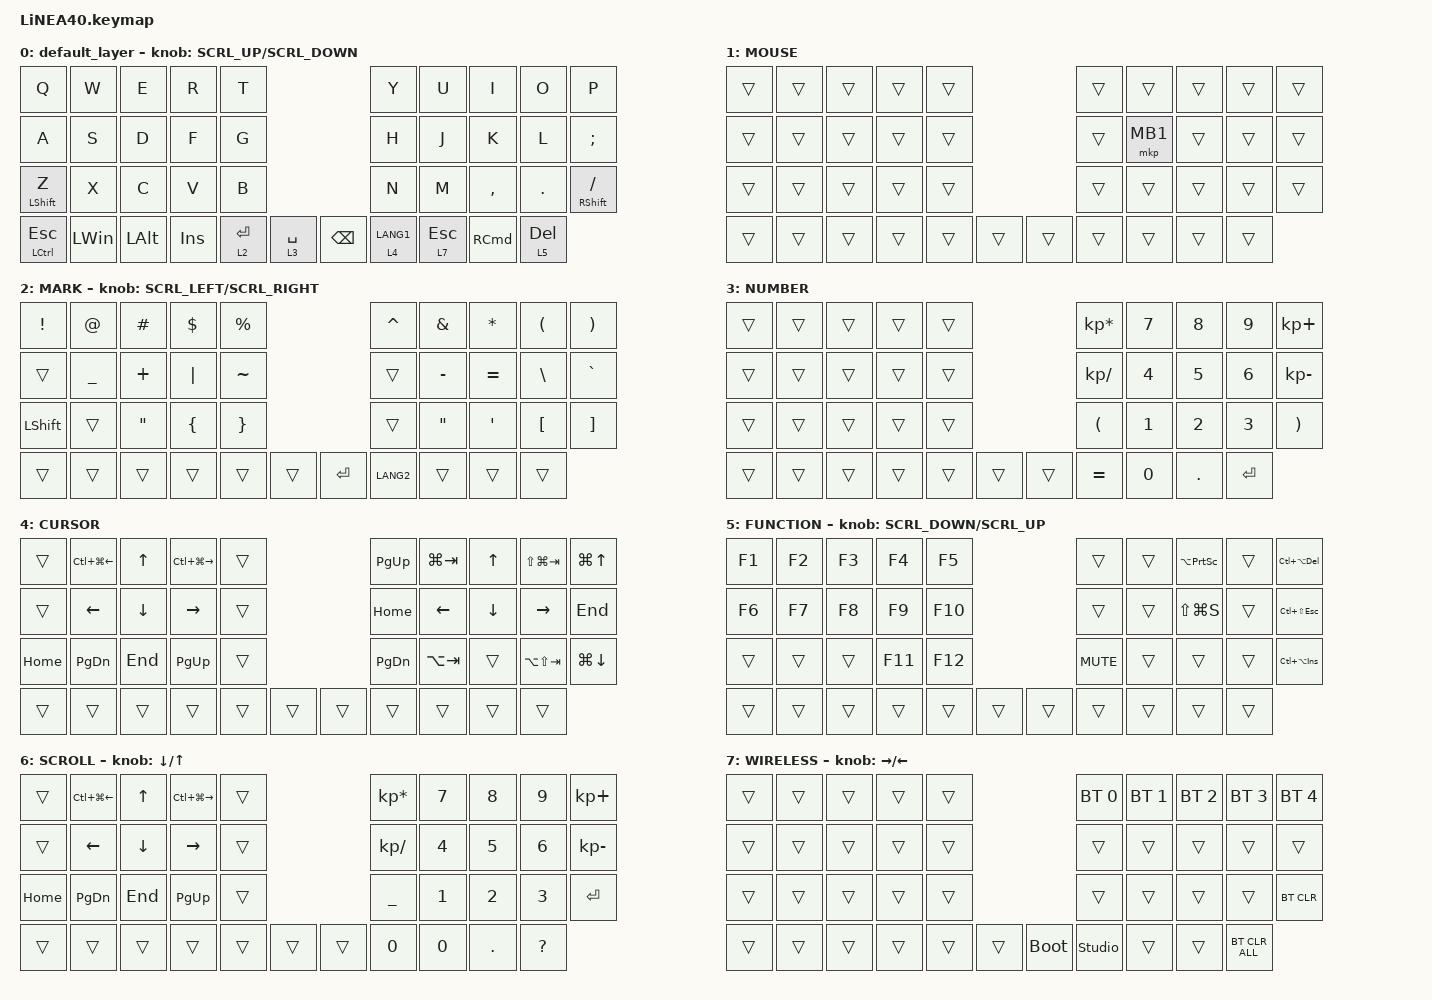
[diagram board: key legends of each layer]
#define ZMK_POINTING_DEFAULT_SCRL_VAL 150

#include <dt-bindings/zmk/input_transform.h>
#include <input/processors.dtsi>
#include <zephyr/dt-bindings/input/input-event-codes.h>
#include <behaviors.dtsi>
#include <dt-bindings/zmk/bt.h>
#include <dt-bindings/zmk/keys.h>
#include <dt-bindings/zmk/pointing.h>

#define MOUSE 1
#define MARK 2
#define CURSOR 3
#define FUNCTION 4
#define SCROLL 5
#define WIRELESS 6

//mouse cursol

&mmv {
    delay-ms = <20>;
    trigger-period-ms = <5>;
    time-to-max-speed-ms = <300>;
    acceleration-exponent = <1>;
};

//mouse scroll

&msc {
    delay-ms = <3>;
    trigger-period-ms = <3>;
    time-to-max-speed-ms = <100>;
    acceleration-exponent = <0>;
};

/ {
    input_processors {
        zip_wheel_scaler: zip_wheel_scaler {
            compatible = "zmk,input-processor-scaler";
            #input-processor-cells = <2>;
            type = <INPUT_EV_REL>;
            codes = <INPUT_REL_WHEEL>;
            track-remainders;
        };
    };
};

&msc_input_listener {
    speed_up {
        layers = <FUNCTION>;
        input-processors = <&zip_wheel_scaler 3 1>; //スクロールを3倍速にする
    };
};

&trackball_listener {
    scroller {
        layers = <SCROLL>;
        input-processors =
            <&zip_xy_transform INPUT_TRANSFORM_Y_INVERT>,
            //スクロール方向を逆転,,,,,,,,,,
            <&zip_xy_to_scroll_mapper>;
    };
};

/ {
    combos {
        compatible = "zmk,combos";

        ZenkakuHankaku {
            bindings = <&kp GRAVE>;
            key-positions = <11 12>;
        };

        DeleteKey {
            bindings = <&kp DEL>;
            key-positions = <7 8>;
        };

        InsertKey {
            bindings = <&kp INS>;
            key-positions = <6 7>;
        };

        CenterClick {
            bindings = <&mkp MB3>;
            key-positions = <17 16>;
        };

        RightClick {
            bindings = <&mkp MB2>;
            key-positions = <18 17>;
        };

        PrevClick {
            bindings = <&mkp MB4>;
            key-positions = <27 28>;
        };

        ClickNext {
            bindings = <&mkp MB5>;
            key-positions = <26 27>;
        };

        tab {
            bindings = <&kp TAB>;
            key-positions = <1 0>;
        };
    };

    behaviors {
        re_kp: sensor_rotate_kp {
            compatible = "zmk,behavior-sensor-rotate-var";
            #sensor-binding-cells = <2>;
            bindings = <&kp>, <&kp>;
        };

        mouse_scrl: mouse_wheel_scrl {
            compatible = "zmk,behavior-sensor-rotate-var";
            #sensor-binding-cells = <2>;
            bindings = <&msc>, <&msc>;

            tap-ms = <20>;
        };
    };

    keymap {
        compatible = "zmk,keymap";

        default_layer {
            bindings = <
&kp Q             &kp W         &kp E         &kp R    &kp T                                      &kp Y        &kp U  &kp I      &kp O     &kp P
&kp A             &kp S         &kp D         &kp F    &kp G                                      &kp H        &kp J  &kp K      &kp L     &kp SEMICOLON
&mt LEFT_SHIFT Z  &kp X         &kp C         &kp V    &kp B                                      &kp N        &kp M  &kp COMMA  &kp DOT   &mt RIGHT_SHIFT SLASH
&mt LCTRL ESC     &kp LEFT_WIN  &kp LEFT_ALT  &kp INS  &lt 2 ENTER  &lt 3 SPACE    &kp BACKSPACE  &lt 4 LANG1         &lt 7 ESC  &kp RCMD  &lt 5 DEL
            >;

            sensor-bindings = <&mouse_scrl SCRL_UP SCRL_DOWN>;
        };

        MOUSE {
            bindings = <
&trans  &trans  &trans  &trans  &trans                    &trans  &trans    &trans  &trans  &trans
&trans  &trans  &trans  &trans  &trans                    &trans  &mkp MB1  &trans  &trans  &trans
&trans  &trans  &trans  &trans  &trans                    &trans  &trans    &trans  &trans  &trans
&trans  &trans  &trans  &trans  &trans  &trans    &trans  &trans            &trans  &trans  &trans
            >;
        };

        MARK {
            bindings = <
&kp EXCLAMATION  &kp AT     &kp HASH           &kp DOLLAR      &kp PERCENT                           &kp CARET  &kp AMPERSAND      &kp ASTERISK      &kp LEFT_PARENTHESIS  &kp RIGHT_PARENTHESIS
&trans           &kp UNDER  &kp PLUS           &kp PIPE        &kp TILDE                             &trans     &kp MINUS          &kp EQUAL         &kp BACKSLASH         &kp GRAVE
&kp LEFT_SHIFT   &trans     &kp DOUBLE_QUOTES  &kp LEFT_BRACE  &kp RIGHT_BRACE                       &trans     &kp DOUBLE_QUOTES  &kp SINGLE_QUOTE  &kp LEFT_BRACKET      &kp RIGHT_BRACKET
&trans           &trans     &trans             &trans          &trans           &trans    &kp ENTER  &kp LANG2                     &trans            &trans                &trans
            >;

            sensor-bindings = <&mouse_scrl SCRL_LEFT SCRL_RIGHT>;
        };

        NUMBER {
            bindings = <
&trans  &trans  &trans  &trans  &trans                    &kp KP_ASTERISK       &kp N7        &kp N8        &kp N9        &kp KP_PLUS
&trans  &trans  &trans  &trans  &trans                    &kp KP_DIVIDE         &kp NUMBER_4  &kp N5        &kp NUMBER_6  &kp KP_SUBTRACT
&trans  &trans  &trans  &trans  &trans                    &kp LEFT_PARENTHESIS  &kp NUMBER_1  &kp NUMBER_2  &kp NUMBER_3  &kp RIGHT_PARENTHESIS
&trans  &trans  &trans  &trans  &trans  &trans    &trans  &kp EQUAL                           &kp N0        &kp PERIOD    &kp ENTER
            >;
        };

        CURSOR {
            bindings = <
&trans    &kp LC(LG(LEFT_ARROW))  &kp UP_ARROW  &kp LC(LG(RIGHT_ARROW))  &trans                    &kp PAGE_UP    &kp LG(TAB)  &kp UP    &kp LS(LG(TAB))  &kp LG(UP_ARROW)
&trans    &kp LEFT_ARROW          &kp DOWN      &kp RIGHT_ARROW          &trans                    &kp HOME       &kp LEFT     &kp DOWN  &kp RIGHT        &kp END
&kp HOME  &kp PAGE_DOWN           &kp END       &kp PAGE_UP              &trans                    &kp PAGE_DOWN  &kp LA(TAB)  &trans    &kp LA(LS(TAB))  &kp LG(DOWN)
&trans    &trans                  &trans        &trans                   &trans  &trans    &trans  &trans                      &trans    &trans           &trans
            >;
        };

        FUNCTION {
            bindings = <
&kp F1  &kp F2  &kp F3  &kp F4   &kp F5                     &trans      &trans  &kp LA(PRINTSCREEN)  &trans  &kp LC(LA(DELETE))
&kp F6  &kp F7  &kp F8  &kp F9   &kp F10                    &trans      &trans  &kp LS(LG(S))        &trans  &kp LC(LS(ESCAPE))
&trans  &trans  &trans  &kp F11  &kp F12                    &kp C_MUTE  &trans  &trans               &trans  &kp LC(LA(INS))
&trans  &trans  &trans  &trans   &trans   &trans    &trans  &trans              &trans               &trans  &trans
            >;

            sensor-bindings = <&mouse_scrl SCRL_DOWN SCRL_UP>;
        };

        SCROLL {
            bindings = <
&trans    &kp LC(LG(LEFT_ARROW))  &kp UP_ARROW  &kp LC(LG(RIGHT_ARROW))  &trans                    &kp KP_MULTIPLY  &kp NUMBER_7  &kp NUMBER_8  &kp NUMBER_9  &kp KP_PLUS
&trans    &kp LEFT_ARROW          &kp DOWN      &kp RIGHT_ARROW          &trans                    &kp KP_SLASH     &kp NUMBER_4  &kp NUMBER_5  &kp NUMBER_6  &kp KP_MINUS
&kp HOME  &kp PAGE_DOWN           &kp END       &kp PAGE_UP              &trans                    &kp UNDER        &kp NUMBER_1  &kp NUMBER_2  &kp NUMBER_3  &kp ENTER
&trans    &trans                  &trans        &trans                   &trans  &trans    &trans  &kp NUMBER_0                   &kp NUMBER_0  &kp DOT       &kp QUESTION
            >;

            sensor-bindings = <&inc_dec_kp DOWN_ARROW UP_ARROW>;
        };

        WIRELESS {
            bindings = <
&trans  &trans  &trans  &trans  &trans                         &bt BT_SEL 0    &bt BT_SEL 1  &bt BT_SEL 2  &bt BT_SEL 3  &bt BT_SEL 4
&trans  &trans  &trans  &trans  &trans                         &trans          &trans        &trans        &trans        &trans
&trans  &trans  &trans  &trans  &trans                         &trans          &trans        &trans        &trans        &bt BT_CLR
&trans  &trans  &trans  &trans  &trans  &trans    &bootloader  &studio_unlock                &trans        &trans        &bt BT_CLR_ALL
            >;

            sensor-bindings = <&inc_dec_kp RIGHT_ARROW LEFT_ARROW>;
        };
    };
};
